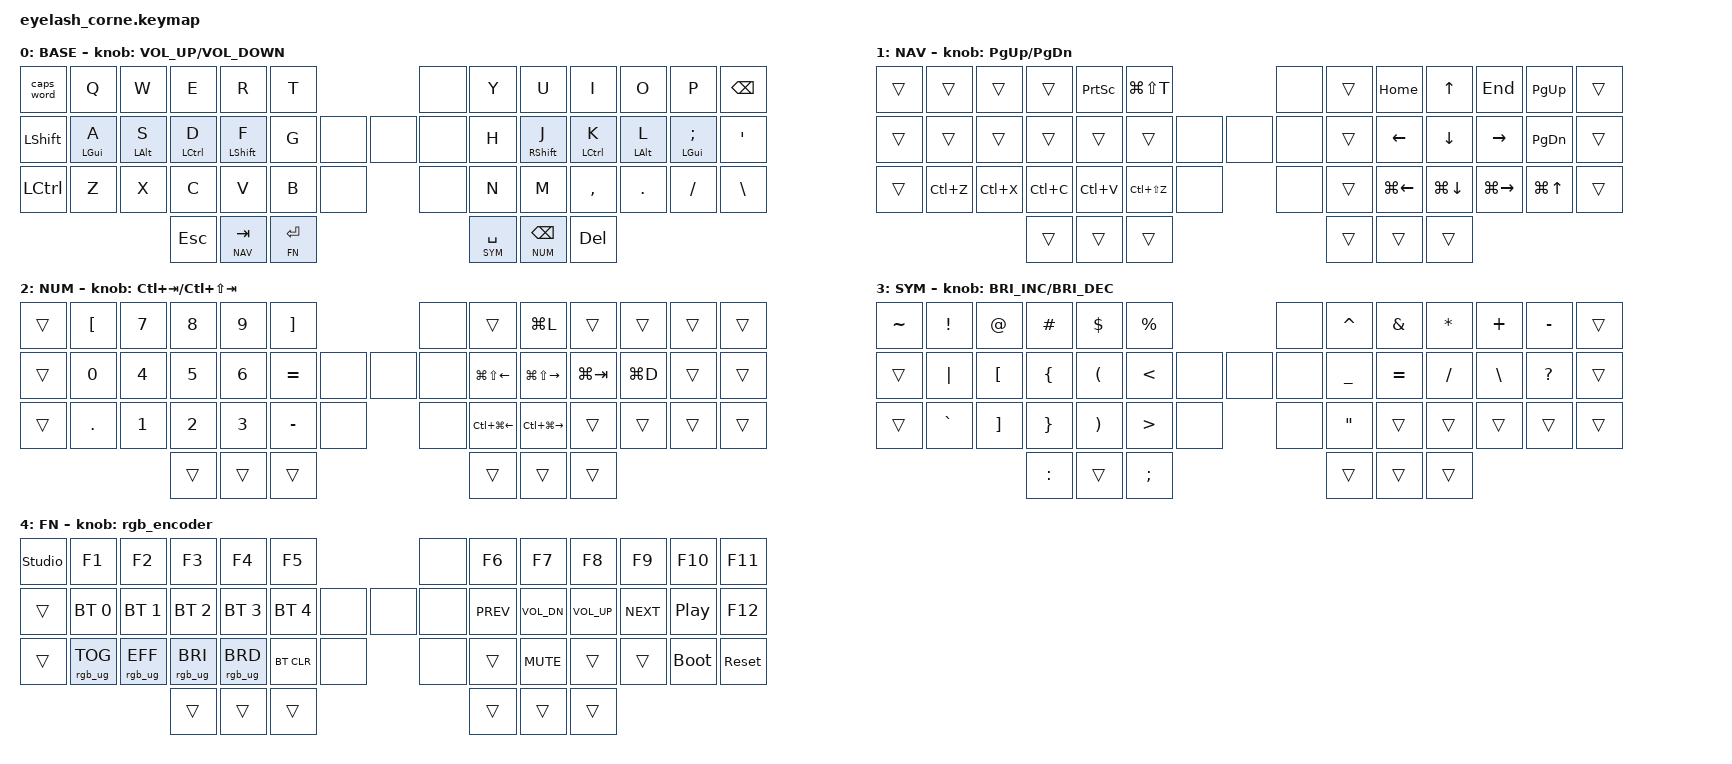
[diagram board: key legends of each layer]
#include <input/processors.dtsi>
#include <behaviors.dtsi>
#include <dt-bindings/zmk/bt.h>
#include <dt-bindings/zmk/keys.h>
#include <dt-bindings/zmk/rgb.h>

#define BASE 0
#define NAV  1
#define NUM  2
#define SYM  3
#define FN   4

// Position lists for HRM positional triggering.
// Positions 6, 19, 20, 21, 34, 35 are unpopulated 5-way / inner switches
// on this physical board and are bound to &none on every layer.
#define KEYS_LEFT  0 1 2 3 4 5 13 14 15 16 17 18 28 29 30 31 32 33
#define KEYS_RIGHT 7 8 9 10 11 12 22 23 24 25 26 27 36 37 38 39 40 41
#define THUMBS     42 43 44 45 46 47

/ {
    behaviors {
        // Home-row mod, left hand. Hold resolves only if the next key is
        // on the right hand or a thumb (kills same-hand rolling-alpha misfires).
        hml: home_row_mod_left {
            compatible = "zmk,behavior-hold-tap";
            #binding-cells = <2>;
            flavor = "balanced";
            tapping-term-ms = <280>;
            quick-tap-ms = <175>;
            require-prior-idle-ms = <150>;
            bindings = <&kp>, <&kp>;
            hold-trigger-key-positions = <KEYS_RIGHT THUMBS>;
            hold-trigger-on-release;
        };

        hmr: home_row_mod_right {
            compatible = "zmk,behavior-hold-tap";
            #binding-cells = <2>;
            flavor = "balanced";
            tapping-term-ms = <280>;
            quick-tap-ms = <175>;
            require-prior-idle-ms = <150>;
            bindings = <&kp>, <&kp>;
            hold-trigger-key-positions = <KEYS_LEFT THUMBS>;
            hold-trigger-on-release;
        };

        // Layer-tap for thumbs. Looser than HRM since thumbs aren't part of typing rolls.
        ltq: layer_tap_quick {
            compatible = "zmk,behavior-hold-tap";
            #binding-cells = <2>;
            flavor = "balanced";
            tapping-term-ms = <200>;
            quick-tap-ms = <200>;
            bindings = <&mo>, <&kp>;
        };
    };

    rgb_encoder: rgb_encoder {
        compatible = "zmk,behavior-sensor-rotate";
        #sensor-binding-cells = <0>;
        bindings = <&rgb_ug RGB_BRI>, <&rgb_ug RGB_BRD>;
    };

    combos {
        compatible = "zmk,combos";
        // F + J tapped together within 40ms -> ESC. Only fires on BASE
        // (so HJKL on NAV still works), and is gated by 100ms prior idle
        // so it doesn't trip while typing words like "fjord".
        combo_esc_fj {
            timeout-ms = <40>;
            require-prior-idle-ms = <100>;
            key-positions = <17 23>;
            bindings = <&kp ESC>;
            layers = <0>;
        };
    };

    keymap {
        compatible = "zmk,keymap";

        base_layer {
            display-name = "BASE";
            bindings = <
&caps_word &kp Q        &kp W        &kp E         &kp R         &kp T                                  &none                                  &kp Y         &kp U          &kp I          &kp O         &kp P             &kp BSPC
&kp LSHFT  &hml LGUI A  &hml LALT S  &hml LCTRL D  &hml LSHFT F  &kp G                  &none  &none  &none                                     &kp H         &hmr RSHFT J   &hmr LCTRL K   &hmr LALT L   &hmr LGUI SEMI    &kp SQT
&kp LCTRL  &kp Z        &kp X        &kp C         &kp V         &kp B         &none                                  &none                     &kp N         &kp M          &kp COMMA      &kp DOT       &kp FSLH          &kp BSLH
                                     &kp ESC       &ltq NAV TAB    &ltq FN RET                                                                  &ltq SYM SPACE &ltq NUM BSPC &kp DEL
            >;
            sensor-bindings = <&inc_dec_kp C_VOLUME_UP C_VOLUME_DOWN>;
        };

        nav_layer {
            display-name = "NAV";
            bindings = <
&trans     &trans       &trans       &trans        &kp PSCRN     &kp LG(LS(T))                          &none                                  &trans        &kp HOME       &kp UP         &kp END       &kp PAGE_UP       &trans
&trans     &trans       &trans       &trans        &trans        &trans                 &none  &none  &none                                     &trans        &kp LEFT       &kp DOWN       &kp RIGHT     &kp PAGE_DOWN     &trans
&trans     &kp LC(Z)    &kp LC(X)    &kp LC(C)     &kp LC(V)     &kp LC(LS(Z)) &none                                  &none                     &trans        &kp LG(LEFT)   &kp LG(DOWN)   &kp LG(RIGHT) &kp LG(UP)        &trans
                                     &trans        &trans        &trans                                                                          &trans        &trans         &trans
            >;
            sensor-bindings = <&inc_dec_kp PAGE_UP PAGE_DOWN>;
        };

        num_layer {
            display-name = "NUM";
            bindings = <
&trans     &kp LBKT     &kp N7       &kp N8        &kp N9        &kp RBKT                               &none                                  &trans        &kp LG(L)      &trans         &trans        &trans            &trans
&trans     &kp N0       &kp N4       &kp N5        &kp N6        &kp EQUAL              &none  &none  &none                                     &kp LG(LS(LEFT)) &kp LG(LS(RIGHT)) &kp LG(TAB) &kp LG(D)     &trans            &trans
&trans     &kp DOT      &kp N1       &kp N2        &kp N3        &kp MINUS     &none                                  &none                     &kp LC(LG(LEFT)) &kp LC(LG(RIGHT)) &trans      &trans        &trans            &trans
                                     &trans        &trans        &trans                                                                          &trans        &trans         &trans
            >;
            sensor-bindings = <&inc_dec_kp LC(TAB) LC(LS(TAB))>;
        };

        sym_layer {
            display-name = "SYM";
            bindings = <
&kp TILDE  &kp EXCL     &kp AT       &kp HASH      &kp DLLR      &kp PRCNT                              &none                                  &kp CARET     &kp AMPS       &kp STAR       &kp PLUS      &kp MINUS         &trans
&trans     &kp PIPE     &kp LBKT     &kp LBRC      &kp LPAR      &kp LT                 &none  &none  &none                                     &kp UNDER     &kp EQUAL      &kp FSLH       &kp BSLH      &kp QMARK         &trans
&trans     &kp GRAVE    &kp RBKT     &kp RBRC      &kp RPAR      &kp GT        &none                                  &none                     &kp DQT       &trans         &trans         &trans        &trans            &trans
                                     &kp COLON     &trans        &kp SEMI                                                                        &trans        &trans         &trans
            >;
            sensor-bindings = <&inc_dec_kp C_BRIGHTNESS_INC C_BRIGHTNESS_DEC>;
        };

        fn_layer {
            display-name = "FN";
            bindings = <
&studio_unlock &kp F1   &kp F2       &kp F3        &kp F4        &kp F5                                 &none                                  &kp F6        &kp F7         &kp F8         &kp F9        &kp F10           &kp F11
&trans     &bt BT_SEL 0 &bt BT_SEL 1 &bt BT_SEL 2  &bt BT_SEL 3  &bt BT_SEL 4           &none  &none  &none                                     &kp C_PREV    &kp C_VOL_DN   &kp C_VOL_UP   &kp C_NEXT    &kp C_PP          &kp F12
&trans     &rgb_ug RGB_TOG &rgb_ug RGB_EFF &rgb_ug RGB_BRI &rgb_ug RGB_BRD &bt BT_CLR &none                                  &none              &trans        &kp C_MUTE     &trans         &trans        &bootloader       &sys_reset
                                     &trans        &trans        &trans                                                                          &trans        &trans         &trans
            >;
            sensor-bindings = <&rgb_encoder>;
        };
    };
};
